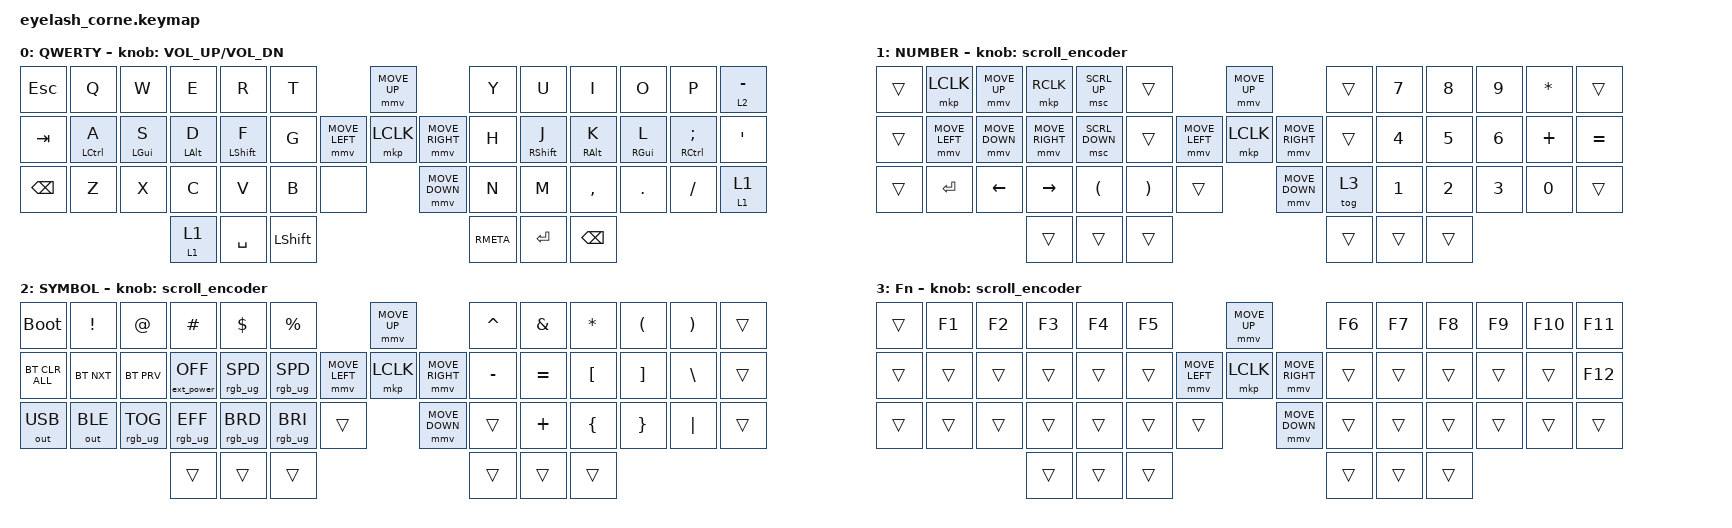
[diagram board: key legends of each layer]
#define ZMK_POINTING_DEFAULT_MOVE_VAL 1200  // 600
#define ZMK_POINTING_DEFAULT_SCRL_VAL 25   // 10

#include <input/processors.dtsi>
#include <zephyr/dt-bindings/input/input-event-codes.h>
#include <behaviors.dtsi>
#include <dt-bindings/zmk/bt.h>
#include <dt-bindings/zmk/ext_power.h>
#include <dt-bindings/zmk/keys.h>
#include <dt-bindings/zmk/outputs.h>
#include <dt-bindings/zmk/pointing.h>
#include <dt-bindings/zmk/rgb.h>

&mmv_input_listener { input-processors = <&zip_xy_scaler 2 1>; };

&msc_input_listener { input-processors = <&zip_scroll_scaler 2 1>; };

&msc {
    acceleration-exponent = <1>;      // 0
    time-to-max-speed-ms = <100>;       // 300
    delay-ms = <0>;                   // 0
};

&mmv {
    time-to-max-speed-ms = <500>;
    acceleration-exponent = <1>;
    trigger-period-ms = <16>;
};

&soft_off { hold-time-ms = <2000>; };

/ {
    behaviors {
        td0: td0 {
            compatible = "zmk,behavior-tap-dance";
            display-name = "Shift/Caps Lock Tap Dance";
            #binding-cells = <0>;
            bindings = <&kp LEFT_SHIFT>, <&kp CAPS>;
        };

        HRM_L: HRM_L {
            compatible = "zmk,behavior-hold-tap";
            label = "HRM_L";
            bindings = <&kp>, <&kp>;

            #binding-cells = <2>;
            tapping-term-ms = <200>;
            flavor = "tap-preferred";
            hold-trigger-key-positions = <7 8 9 10 11 12 22 23 24 25 26 27 36 37 38 39 40 41 45 46 47>;
            hold-while-undecided;
            hold-trigger-on-release;
        };

        HRM_R: HRM_R {
            compatible = "zmk,behavior-hold-tap";
            label = "HRM_R";
            bindings = <&kp>, <&kp>;

            #binding-cells = <2>;
            tapping-term-ms = <200>;
            flavor = "tap-preferred";
            hold-while-undecided;
            hold-trigger-on-release;
            hold-trigger-key-positions = <0 1 2 3 4 5 13 14 15 16 17 18 28 29 30 31 32 33 34 42 43 44>;
        };

        HRM_ShiftL: HRM_ShiftL {
            compatible = "zmk,behavior-hold-tap";
            label = "HRM_SHIFTL";
            bindings = <&kp>, <&kp>;

            #binding-cells = <2>;
            tapping-term-ms = <200>;
            hold-while-undecided;
            hold-trigger-on-release;
            hold-trigger-key-positions = <7 8 9 10 11 12 22 23 24 25 26 27 36 37 38 39 40 41 45 46 47>;
        };

        HRM_ShiftR: HRM_ShiftR {
            compatible = "zmk,behavior-hold-tap";
            label = "HRM_SHIFTR";
            bindings = <&kp>, <&kp>;

            #binding-cells = <2>;
            tapping-term-ms = <200>;
            hold-while-undecided;
            hold-trigger-on-release;
            hold-trigger-key-positions = <0 1 2 3 4 5 13 14 15 16 17 18 28 29 30 31 32 33 34 42 43 44>;
        };

        TG_MO: TG_MO {
            compatible = "zmk,behavior-hold-tap";
            label = "TG_MO";
            bindings = <&mo>, <&tog>;

            #binding-cells = <2>;
            tapping-term-ms = <200>;
        };
    };

    rgb_encoder: rgb_encoder {
        compatible = "zmk,behavior-sensor-rotate";
        #sensor-binding-cells = <0>;
        bindings = <&rgb_ug RGB_BRI>, <&rgb_ug RGB_BRD>;
    };

    scroll_encoder: scroll_encoder {
        compatible = "zmk,behavior-sensor-rotate";
        #sensor-binding-cells = <0>;
        bindings = <&msc SCRL_DOWN>, <&msc SCRL_UP>;

        tap-ms = <100>;
    };

    combos {
        compatible = "zmk,combos";

        softoff {
            bindings = <&soft_off>;
            key-positions = <1 15 29>;
        };
    };

    keymap {
        compatible = "zmk,keymap";

        default_layer {
            display-name = "QWERTY";
            bindings = <
&kp ESCAPE     &kp Q                  &kp W              &kp E              &kp R                     &kp T                                    &mmv MOVE_UP                     &kp Y      &kp U                      &kp I               &kp O          &kp P                           &lt 2 MINUS
&kp TAB        &HRM_L LEFT_CONTROL A  &HRM_L LEFT_GUI S  &HRM_L LEFT_ALT D  &HRM_ShiftL LEFT_SHIFT F  &kp G                    &mmv MOVE_LEFT  &mkp LCLK       &mmv MOVE_RIGHT  &kp H      &HRM_ShiftR RIGHT_SHIFT J  &HRM_R RIGHT_ALT K  &HRM_R RGUI L  &HRM_R RIGHT_CONTROL SEMICOLON  &kp SQT
&kp BACKSPACE  &kp Z                  &kp X              &kp C              &kp V                     &kp B           &none                    &mmv MOVE_DOWN                   &kp N      &kp M                      &kp COMMA           &kp DOT        &kp FSLH                        &TG_MO 1 1
                                                         &TG_MO 1 1         &kp SPACE                 &kp LEFT_SHIFT                                                            &kp RMETA  &kp ENTER                  &kp BACKSPACE
            >;

            sensor-bindings = <&inc_dec_kp C_VOLUME_UP C_VOL_DN>;
        };

        lower_layer {
            display-name = "NUMBER";
            bindings = <
&trans  &mkp LCLK       &mmv MOVE_UP    &mkp RCLK        &msc SCRL_UP          &trans                                           &mmv MOVE_UP                     &trans  &kp N7        &kp N8        &kp N9        &kp ASTERISK  &trans
&trans  &mmv MOVE_LEFT  &mmv MOVE_DOWN  &mmv MOVE_RIGHT  &msc SCRL_DOWN        &trans                           &mmv MOVE_LEFT  &mkp LCLK       &mmv MOVE_RIGHT  &trans  &kp NUMBER_4  &kp N5        &kp NUMBER_6  &kp PLUS      &kp EQUAL
&trans  &kp ENTER       &kp LEFT_ARROW  &kp RIGHT_ARROW  &kp LEFT_PARENTHESIS  &kp RIGHT_PARENTHESIS  &trans                    &mmv MOVE_DOWN                   &tog 3  &kp NUMBER_1  &kp NUMBER_2  &kp NUMBER_3  &kp N0        &trans
                                        &trans           &trans                &trans                                                                            &trans  &trans        &trans
            >;

            sensor-bindings = <&scroll_encoder>;
        };

        raise_layer {
            display-name = "SYMBOL";
            bindings = <
&bootloader     &kp EXCL      &kp AT           &kp HASH           &kp DLLR         &kp PRCNT                                  &mmv MOVE_UP                     &kp CARET  &kp AMPS   &kp ASTRK  &kp LPAR  &kp RPAR  &trans
&bt BT_CLR_ALL  &bt BT_NXT    &bt BT_PRV       &ext_power EP_OFF  &rgb_ug RGB_SPD  &rgb_ug RGB_SPD            &mmv MOVE_LEFT  &mkp LCLK       &mmv MOVE_RIGHT  &kp MINUS  &kp EQUAL  &kp LBKT   &kp RBKT  &kp BSLH  &trans
&out OUT_USB    &out OUT_BLE  &rgb_ug RGB_TOG  &rgb_ug RGB_EFF    &rgb_ug RGB_BRD  &rgb_ug RGB_BRI  &trans                    &mmv MOVE_DOWN                   &trans     &kp PLUS   &kp LBRC   &kp RBRC  &kp PIPE  &trans
                                               &trans             &trans           &trans                                                                      &trans     &trans     &trans
            >;

            sensor-bindings = <&scroll_encoder>;
        };

        layer_3 {
            display-name = "Fn";
            bindings = <
&trans  &kp F1  &kp F2  &kp F3  &kp F4  &kp F5                            &mmv MOVE_UP                     &kp F6  &kp F7  &kp F8  &kp F9  &kp F10  &kp F11
&trans  &trans  &trans  &trans  &trans  &trans            &mmv MOVE_LEFT  &mkp LCLK       &mmv MOVE_RIGHT  &trans  &trans  &trans  &trans  &trans   &kp F12
&trans  &trans  &trans  &trans  &trans  &trans  &trans                    &mmv MOVE_DOWN                   &trans  &trans  &trans  &trans  &trans   &trans
                        &trans  &trans  &trans                                                             &trans  &trans  &trans
            >;

            sensor-bindings = <&scroll_encoder>;
        };
    };
};
